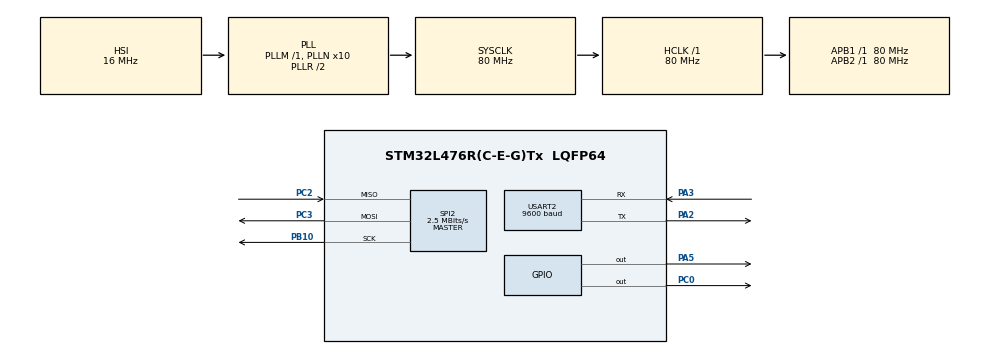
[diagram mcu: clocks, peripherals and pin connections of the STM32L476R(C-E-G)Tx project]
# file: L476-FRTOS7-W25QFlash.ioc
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FREERTOS.Mutexes01=myMutex01,Dynamic,NULL,Available
FREERTOS.Tasks01=LEDTask,24,128,StartLEDTask,Default,NULL,Dynamic,NULL,NULL;UARTTask,8,128,StartUARTTask,Default,NULL,Dynamic,NULL,NULL;FlashTask,8,128,StartFlashTask,Default,NULL,Dynamic,NULL,NULL
FREERTOS.configUSE_NEWLIB_REENTRANT=1
Mcu.Family=STM32L4
Mcu.Name=STM32L476R(C-E-G)Tx
Mcu.Package=LQFP64
NVIC.PriorityGroup=NVIC_PRIORITYGROUP_4
NVIC.TIM7_IRQn=true\:15\:0\:false\:false\:true\:false\:false\:true\:true
NVIC.TimeBase=TIM7_IRQn
NVIC.TimeBaseIP=TIM7
PA13\ (JTMS-SWDIO).Mode=Serial_Wire
PA13\ (JTMS-SWDIO).Signal=SYS_JTMS-SWDIO
PA14\ (JTCK-SWCLK).Mode=Serial_Wire
PA14\ (JTCK-SWCLK).Signal=SYS_JTCK-SWCLK
PA2.Mode=Asynchronous
PA2.Signal=USART2_TX
PA3.Mode=Asynchronous
PA3.Signal=USART2_RX
PA5.Signal=GPIO_Output
PB10.Mode=Full_Duplex_Master
PB10.Signal=SPI2_SCK
PC0.GPIO_Speed=GPIO_SPEED_FREQ_HIGH
PC0.PinState=GPIO_PIN_SET
PC0.Signal=GPIO_Output
PC2.Mode=Full_Duplex_Master
PC2.Signal=SPI2_MISO
PC3.Mode=Full_Duplex_Master
PC3.Signal=SPI2_MOSI
ProjectManager.HeapSize=0x200
ProjectManager.StackSize=0x400
ProjectManager.TargetToolchain=STM32CubeIDE
RCC.ADCFreq_Value=64000000
RCC.AHBFreq_Value=80000000
RCC.APB1Freq_Value=80000000
RCC.APB1TimFreq_Value=80000000
RCC.APB2Freq_Value=80000000
RCC.APB2TimFreq_Value=80000000
RCC.CortexFreq_Value=80000000
RCC.HCLKFreq_Value=80000000
RCC.HSE_VALUE=8000000
RCC.HSI_VALUE=16000000
RCC.LSE_VALUE=32768
RCC.MSI_VALUE=4000000
RCC.PLLN=10
RCC.PLLSourceVirtual=RCC_PLLSOURCE_HSI
RCC.PREFETCH_ENABLE=1
RCC.SYSCLKFreq_VALUE=80000000
RCC.SYSCLKSource=RCC_SYSCLKSOURCE_PLLCLK
RCC.USBFreq_Value=64000000
RCC.VCOOutputFreq_Value=160000000
SPI2.BaudRatePrescaler=SPI_BAUDRATEPRESCALER_32
SPI2.CLKPolarity=SPI_POLARITY_LOW
SPI2.CalculateBaudRate=2.5 MBits/s
SPI2.DataSize=SPI_DATASIZE_8BIT
SPI2.Direction=SPI_DIRECTION_2LINES
SPI2.Mode=SPI_MODE_MASTER
SPI2.VirtualType=VM_MASTER
USART2.BaudRate=9600
USART2.VirtualMode-Asynchronous=VM_ASYNC
VP_FREERTOS_VS_CMSIS_V2.Mode=CMSIS_V2
VP_SYS_VS_tim7.Mode=TIM7
board=NUCLEO-L476RG

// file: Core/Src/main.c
/* USER CODE BEGIN Header */
/**
  ******************************************************************************
  * @file           : main.c
  * @brief          : Main program body
  ******************************************************************************
  * @attention
  *
  * Copyright (c) 2026 STMicroelectronics.
  * All rights reserved.
  *
  * This software is licensed under terms that can be found in the LICENSE file
  * in the root directory of this software component.
  * If no LICENSE file comes with this software, it is provided AS-IS.
  *
  ******************************************************************************
  */
/* USER CODE END Header */
#include "main.h"
#include "cmsis_os.h"

/* USER CODE BEGIN Includes */
#include "string.h"
#include "stdio.h"
#define myled GPIO_PIN_5
#include "w25qxx.h"
/* USER CODE END Includes */

SPI_HandleTypeDef hspi2;

UART_HandleTypeDef huart2;

/* Definitions for LEDTask */
osThreadId_t LEDTaskHandle;
const osThreadAttr_t LEDTask_attributes = {
  .name = "LEDTask",
  .stack_size = 128 * 4,
  .priority = (osPriority_t) osPriorityNormal,
};
/* Definitions for UARTTask */
osThreadId_t UARTTaskHandle;
const osThreadAttr_t UARTTask_attributes = {
  .name = "UARTTask",
  .stack_size = 128 * 4,
  .priority = (osPriority_t) osPriorityLow,
};
/* Definitions for FlashTask */
osThreadId_t FlashTaskHandle;
const osThreadAttr_t FlashTask_attributes = {
  .name = "FlashTask",
  .stack_size = 128 * 4,
  .priority = (osPriority_t) osPriorityLow,
};
/* Definitions for myMutex01 */
osMutexId_t myMutex01Handle;
const osMutexAttr_t myMutex01_attributes = {
  .name = "myMutex01"
};

void SystemClock_Config(void);
static void MX_GPIO_Init(void);
static void MX_SPI2_Init(void);
static void MX_USART2_UART_Init(void);
void StartLEDTask(void *argument);
void StartUARTTask(void *argument);
void StartFlashTask(void *argument);

/* USER CODE BEGIN 0 */
void UART_SEND(UART_HandleTypeDef *huart, char buffer[]){
//	HAL_UART_Transmit(huart, (uint8_t*) buffer, strlen(buffer), HAL_MAX_DELAY); // without mutex
	osMutexAcquire(myMutex01Handle, osWaitForever);

	HAL_UART_Transmit(huart, (uint8_t*)buffer, strlen(buffer), HAL_MAX_DELAY);

	osMutexRelease(myMutex01Handle);
}
/* USER CODE END 0 */

int main(void)
{

  /* MCU Configuration--------------------------------------------------------*/

  /* Reset of all peripherals, Initializes the Flash interface and the Systick. */
  HAL_Init();

  /* Configure the system clock */
  SystemClock_Config();

  /* Initialize all configured peripherals */
  MX_GPIO_Init();
  MX_SPI2_Init();
  MX_USART2_UART_Init();

  /* Init scheduler */
  osKernelInitialize();
  /* Create the mutex(es) */
  /* creation of myMutex01 */
  myMutex01Handle = osMutexNew(&myMutex01_attributes);

  /* Create the thread(s) */
  /* creation of LEDTask */
  LEDTaskHandle = osThreadNew(StartLEDTask, NULL, &LEDTask_attributes);

  /* creation of UARTTask */
  UARTTaskHandle = osThreadNew(StartUARTTask, NULL, &UARTTask_attributes);

  /* creation of FlashTask */
  FlashTaskHandle = osThreadNew(StartFlashTask, NULL, &FlashTask_attributes);

  /* Start scheduler */
  osKernelStart();

  /* We should never get here as control is now taken by the scheduler */

  /* Infinite loop */
  while (1)
  {

  }
}

void SystemClock_Config(void)
{
  RCC_OscInitTypeDef RCC_OscInitStruct = {0};
  RCC_ClkInitTypeDef RCC_ClkInitStruct = {0};

  /** Configure the main internal regulator output voltage
  */
  if (HAL_PWREx_ControlVoltageScaling(PWR_REGULATOR_VOLTAGE_SCALE1) != HAL_OK)
  {
    Error_Handler();
  }

  /** Initializes the RCC Oscillators according to the specified parameters
  * in the RCC_OscInitTypeDef structure.
  */
  RCC_OscInitStruct.OscillatorType = RCC_OSCILLATORTYPE_HSI;
  RCC_OscInitStruct.HSIState = RCC_HSI_ON;
  RCC_OscInitStruct.HSICalibrationValue = RCC_HSICALIBRATION_DEFAULT;
  RCC_OscInitStruct.PLL.PLLState = RCC_PLL_ON;
  RCC_OscInitStruct.PLL.PLLSource = RCC_PLLSOURCE_HSI;
  RCC_OscInitStruct.PLL.PLLM = 1;
  RCC_OscInitStruct.PLL.PLLN = 10;
  RCC_OscInitStruct.PLL.PLLP = RCC_PLLP_DIV7;
  RCC_OscInitStruct.PLL.PLLQ = RCC_PLLQ_DIV2;
  RCC_OscInitStruct.PLL.PLLR = RCC_PLLR_DIV2;
  if (HAL_RCC_OscConfig(&RCC_OscInitStruct) != HAL_OK)
  {
    Error_Handler();
  }

  /** Initializes the CPU, AHB and APB buses clocks
  */
  RCC_ClkInitStruct.ClockType = RCC_CLOCKTYPE_HCLK|RCC_CLOCKTYPE_SYSCLK
                              |RCC_CLOCKTYPE_PCLK1|RCC_CLOCKTYPE_PCLK2;
  RCC_ClkInitStruct.SYSCLKSource = RCC_SYSCLKSOURCE_PLLCLK;
  RCC_ClkInitStruct.AHBCLKDivider = RCC_SYSCLK_DIV1;
  RCC_ClkInitStruct.APB1CLKDivider = RCC_HCLK_DIV1;
  RCC_ClkInitStruct.APB2CLKDivider = RCC_HCLK_DIV1;

  if (HAL_RCC_ClockConfig(&RCC_ClkInitStruct, FLASH_LATENCY_4) != HAL_OK)
  {
    Error_Handler();
  }
}

static void MX_SPI2_Init(void)
{

  /* SPI2 parameter configuration*/
  hspi2.Instance = SPI2;
  hspi2.Init.Mode = SPI_MODE_MASTER;
  hspi2.Init.Direction = SPI_DIRECTION_2LINES;
  hspi2.Init.DataSize = SPI_DATASIZE_8BIT;
  hspi2.Init.CLKPolarity = SPI_POLARITY_LOW;
  hspi2.Init.CLKPhase = SPI_PHASE_1EDGE;
  hspi2.Init.NSS = SPI_NSS_SOFT;
  hspi2.Init.BaudRatePrescaler = SPI_BAUDRATEPRESCALER_32;
  hspi2.Init.FirstBit = SPI_FIRSTBIT_MSB;
  hspi2.Init.TIMode = SPI_TIMODE_DISABLE;
  hspi2.Init.CRCCalculation = SPI_CRCCALCULATION_DISABLE;
  hspi2.Init.CRCPolynomial = 7;
  hspi2.Init.CRCLength = SPI_CRC_LENGTH_DATASIZE;
  hspi2.Init.NSSPMode = SPI_NSS_PULSE_ENABLE;
  if (HAL_SPI_Init(&hspi2) != HAL_OK)
  {
    Error_Handler();
  }

}

static void MX_USART2_UART_Init(void)
{

  huart2.Instance = USART2;
  huart2.Init.BaudRate = 9600;
  huart2.Init.WordLength = UART_WORDLENGTH_8B;
  huart2.Init.StopBits = UART_STOPBITS_1;
  huart2.Init.Parity = UART_PARITY_NONE;
  huart2.Init.Mode = UART_MODE_TX_RX;
  huart2.Init.HwFlowCtl = UART_HWCONTROL_NONE;
  huart2.Init.OverSampling = UART_OVERSAMPLING_16;
  huart2.Init.OneBitSampling = UART_ONE_BIT_SAMPLE_DISABLE;
  huart2.AdvancedInit.AdvFeatureInit = UART_ADVFEATURE_NO_INIT;
  if (HAL_UART_Init(&huart2) != HAL_OK)
  {
    Error_Handler();
  }

}

static void MX_GPIO_Init(void)
{
  GPIO_InitTypeDef GPIO_InitStruct = {0};

  /* GPIO Ports Clock Enable */
  __HAL_RCC_GPIOC_CLK_ENABLE();
  __HAL_RCC_GPIOA_CLK_ENABLE();
  __HAL_RCC_GPIOB_CLK_ENABLE();

  /*Configure GPIO pin Output Level */
  HAL_GPIO_WritePin(GPIOC, GPIO_PIN_0, GPIO_PIN_SET);

  /*Configure GPIO pin Output Level */
  HAL_GPIO_WritePin(GPIOA, GPIO_PIN_5, GPIO_PIN_RESET);

  /*Configure GPIO pin : PC0 */
  GPIO_InitStruct.Pin = GPIO_PIN_0;
  GPIO_InitStruct.Mode = GPIO_MODE_OUTPUT_PP;
  GPIO_InitStruct.Pull = GPIO_NOPULL;
  GPIO_InitStruct.Speed = GPIO_SPEED_FREQ_HIGH;
  HAL_GPIO_Init(GPIOC, &GPIO_InitStruct);

  /*Configure GPIO pin : PA5 */
  GPIO_InitStruct.Pin = GPIO_PIN_5;
  GPIO_InitStruct.Mode = GPIO_MODE_OUTPUT_PP;
  GPIO_InitStruct.Pull = GPIO_NOPULL;
  GPIO_InitStruct.Speed = GPIO_SPEED_FREQ_LOW;
  HAL_GPIO_Init(GPIOA, &GPIO_InitStruct);

}

void StartLEDTask(void *argument)
{
  /* USER CODE BEGIN 5 */
  /* Infinite loop */
  for(;;)
  {
	  HAL_GPIO_WritePin(GPIOA, myled, GPIO_PIN_SET);
	  osDelay(400);
	  HAL_GPIO_WritePin(GPIOA, myled, GPIO_PIN_RESET);
	  osDelay(400);
  }
  /* USER CODE END 5 */
}

void StartUARTTask(void *argument)
{
  /* USER CODE BEGIN StartUARTTask */
  /* Infinite loop */
//	uint32_t counter =0;
  for(;;)
  {
	  UART_SEND(&huart2, "\r\nUART Task Running...\r\n");

	  osDelay(5000);
  }
  /* USER CODE END StartUARTTask */
}

void StartFlashTask(void *argument)
{
  /* USER CODE BEGIN StartFlashTask */
	char uartBuf[64];
  /* Infinite loop */
  for(;;)
  {
	  	UART_SEND(&huart2, "\r\nFlash Task Start\r\n");

	  	// JEDEC ID
	  	uint8_t cmd = 0x9F;
	  	uint8_t id[3] = {0};

	  	W25Q_CS_LOW();
	  	HAL_SPI_Transmit(&hspi2, &cmd, 1, HAL_MAX_DELAY);
	  	HAL_SPI_Receive(&hspi2, id, 3, HAL_MAX_DELAY);
	  	W25Q_CS_HIGH();

	  	sprintf(uartBuf,
	  			"JEDEC ID = %02X %02X %02X\r\n",
	  			id[0], id[1], id[2]);

	  	UART_SEND(&huart2, uartBuf);

	  	// Erase
	  	W25Q_SectorErase(0x000000);
	  	UART_SEND(&huart2,"Erase OK\r\n");

	  	// Write
	  	char writeData[] = "Hello W25Qxx";
	  	char readData[16] = {0};

	  	W25Q_Write(0x000000,
	  			   (uint8_t*)writeData,
	  			   strlen(writeData)+1);

	  	UART_SEND(&huart2,"Write OK\r\n");

	  	// Read
	  	W25Q_Read(0x000000,
	  			  (uint8_t*)readData,
	  			  sizeof(readData));

	  	sprintf(uartBuf,
	  			"Read = %s\r\n",
	  			readData);

	  	UART_SEND(&huart2, uartBuf);

	  	if(strcmp(writeData, readData)==0)
	  		UART_SEND(&huart2,"PASS\r\n");
	  	else
	  		UART_SEND(&huart2,"FAIL\r\n");

	UART_SEND(&huart2, "Flash Task finish \r\n");
    osDelay(10000);
  }
  /* USER CODE END StartFlashTask */
}

void HAL_TIM_PeriodElapsedCallback(TIM_HandleTypeDef *htim)
{
  if (htim->Instance == TIM7)
  {
    HAL_IncTick();
  }
}

void Error_Handler(void)
{
  __disable_irq();
  while (1)
  {
  }
}
